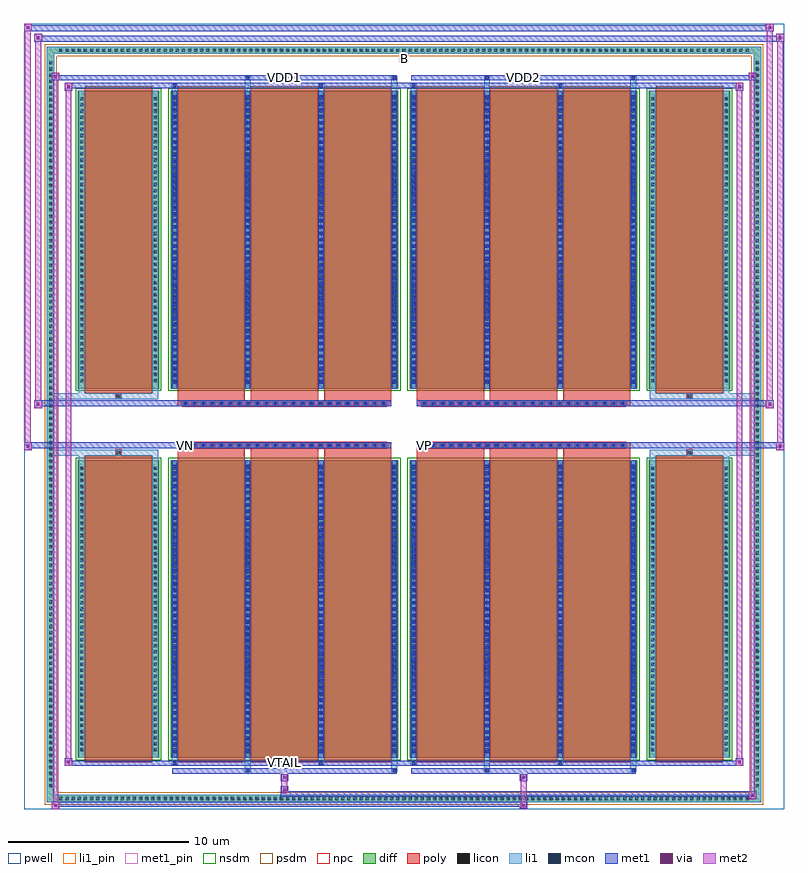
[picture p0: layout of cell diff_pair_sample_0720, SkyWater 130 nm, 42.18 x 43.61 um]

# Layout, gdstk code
import gdstk
lib = gdstk.Library(unit=1e-6, precision=5e-09)
def R(c, l, rs):  # rectangles x0, y0, x1, y1
    for r in rs: c.add(gdstk.rectangle(r[:2], r[2:], *l))
def A(c, l, x, y, w, h, nx, ny, dx, dy):  # array of equal rectangles
    R(c, l, [(x+i*dx, y+j*dy, x+i*dx+w, y+j*dy+h) for i in range(nx) for j in range(ny)])
def P(c, l, *ps):  # polygons
    for p in ps: c.add(gdstk.Polygon(p, *l))
pwell = (64, 44)
diff = (65, 20)
poly = (66, 20)
licon = (66, 44)
li1_pin = (67, 16)
li1 = (67, 20)
mcon = (67, 44)
met1_pin = (68, 16)
met1 = (68, 20)
via = (68, 44)
met2 = (69, 20)
nsdm = (93, 44)
psdm = (94, 20)
npc = (95, 20)

diff_pair_sample_0720 = lib.new_cell('diff_pair_sample_0720')
R(diff_pair_sample_0720, pwell, [(-21.09,-21.37,21.09,22.24), (-18.41,-19.56,-0.01,-0.8), (0.01,-19.56,18.41,-0.8), (-18.41,0.8,-0.01,19.56), (0.01,0.8,18.41,19.56)])
A(diff_pair_sample_0720, diff, -19.245, -20.97, 0.41, 0.41, 113, 2, 0.34, 41.53)
A(diff_pair_sample_0720, diff, -19.82, -20.265, 0.41, 0.41, 1, 119, 0, 0.34)
A(diff_pair_sample_0720, diff, 19.41, -20.265, 0.41, 0.41, 1, 119, 0, 0.34)
R(diff_pair_sample_0720, diff, [(-19.245,-20.97,19.245,-20.56), (-19.82,-20.265,-19.41,20.265), (19.41,-20.265,19.82,20.265), (-18.1,-18.515,-13.59,-1.985), (-12.95,-18.515,-0.32,-1.985), (0.32,-18.515,12.95,-1.985), (13.59,-18.515,18.1,-1.985), (-18.1,1.985,-13.59,18.515), (-12.95,1.985,-0.32,18.515), (0.32,1.985,12.95,18.515), (13.59,1.985,18.1,18.515), (-19.245,20.56,19.245,20.97)])
P(diff_pair_sample_0720, diff, [(19.82,20.97),(-19.82,20.97),(-19.82,-20.56),(-19.41,-20.56),(-19.41,20.56),(19.41,20.56),(19.41,-20.56),(-19.41,-20.56),(-19.82,-20.56),(-19.82,-20.97),(19.82,-20.97)])
A(diff_pair_sample_0720, poly, -12.56, -18.765, 3.73, 17.03, 3, 2, 4.06, 20.5)
A(diff_pair_sample_0720, poly, 0.71, -18.765, 3.73, 17.03, 3, 2, 4.06, 20.5)
A(diff_pair_sample_0720, poly, -12.56, -1.735, 3.73, 0.405, 3, 2, 4.06, 3.065)
A(diff_pair_sample_0720, poly, 0.71, -1.735, 3.73, 0.405, 3, 2, 4.06, 3.065)
A(diff_pair_sample_0720, poly, -12.3, -1.33, 0.33, 0.33, 23, 2, 0.5, 2.33)
A(diff_pair_sample_0720, poly, 0.97, -1.33, 0.33, 0.33, 23, 2, 0.5, 2.33)
R(diff_pair_sample_0720, poly, [(-17.71,-18.765,-13.98,-1.735), (13.98,-18.765,17.71,-1.735), (-16.01,-1.735,-15.68,-1.405), (-16.01,-1.735,-15.68,-1.405), (15.68,-1.735,16.01,-1.405), (15.68,-1.735,16.01,-1.405), (-12.56,-1.33,-0.71,-1), (0.71,-1.33,12.56,-1), (-12.56,1,-0.71,1.33), (0.71,1,12.56,1.33), (-16.01,1.405,-15.68,1.735), (-16.01,1.405,-15.68,1.735), (15.68,1.405,16.01,1.735), (15.68,1.405,16.01,1.735), (-17.71,1.735,-13.98,18.765), (13.98,1.735,17.71,18.765)])
A(diff_pair_sample_0720, licon, -19.125, -20.85, 0.17, 0.17, 113, 2, 0.34, 41.53)
A(diff_pair_sample_0720, licon, -19.7, -20.145, 0.17, 0.17, 1, 119, 0, 0.34)
A(diff_pair_sample_0720, licon, 19.53, -20.145, 0.17, 0.17, 1, 119, 0, 0.34)
A(diff_pair_sample_0720, licon, -17.96, -18.155, 0.17, 0.17, 1, 47, 0, 0.34)
A(diff_pair_sample_0720, licon, -13.9, -18.155, 0.17, 0.17, 1, 47, 0, 0.34)
A(diff_pair_sample_0720, licon, -12.81, -18.155, 0.17, 0.17, 4, 47, 4.06, 0.34)
A(diff_pair_sample_0720, licon, 0.46, -18.155, 0.17, 0.17, 4, 47, 4.06, 0.34)
A(diff_pair_sample_0720, licon, 13.73, -18.155, 0.17, 0.17, 1, 47, 0, 0.34)
A(diff_pair_sample_0720, licon, 17.79, -18.155, 0.17, 0.17, 1, 47, 0, 0.34)
A(diff_pair_sample_0720, licon, -12.22, -1.25, 0.17, 0.17, 23, 2, 0.5, 2.33)
A(diff_pair_sample_0720, licon, 1.05, -1.25, 0.17, 0.17, 23, 2, 0.5, 2.33)
A(diff_pair_sample_0720, licon, -17.96, 2.345, 0.17, 0.17, 1, 47, 0, 0.34)
A(diff_pair_sample_0720, licon, -13.9, 2.345, 0.17, 0.17, 1, 47, 0, 0.34)
A(diff_pair_sample_0720, licon, -12.81, 2.345, 0.17, 0.17, 4, 47, 4.06, 0.34)
A(diff_pair_sample_0720, licon, 0.46, 2.345, 0.17, 0.17, 4, 47, 4.06, 0.34)
A(diff_pair_sample_0720, licon, 13.73, 2.345, 0.17, 0.17, 1, 47, 0, 0.34)
A(diff_pair_sample_0720, licon, 17.79, 2.345, 0.17, 0.17, 1, 47, 0, 0.34)
R(diff_pair_sample_0720, licon, [(-15.93,-1.655,-15.76,-1.485), (15.76,-1.655,15.93,-1.485), (-15.93,1.485,-15.76,1.655), (15.76,1.485,15.93,1.655)])
R(diff_pair_sample_0720, li1_pin, [(-0.25,20.06,0.25,20.56)])
A(diff_pair_sample_0720, li1, -19.205, -20.93, 0.33, 0.33, 113, 2, 0.34, 41.53)
A(diff_pair_sample_0720, li1, -19.78, -20.225, 0.33, 0.33, 1, 119, 0, 0.34)
A(diff_pair_sample_0720, li1, 19.45, -20.225, 0.33, 0.33, 1, 119, 0, 0.34)
A(diff_pair_sample_0720, li1, -12.89, -18.515, 0.33, 16.53, 4, 2, 4.06, 20.5)
A(diff_pair_sample_0720, li1, 0.38, -18.515, 0.33, 16.53, 4, 2, 4.06, 20.5)
A(diff_pair_sample_0720, li1, -12.81, -18.255, 0.17, 0.17, 4, 45, 4.06, 0.36)
A(diff_pair_sample_0720, li1, -12.81, -18.255, 0.17, 16.01, 4, 2, 4.06, 20.5)
A(diff_pair_sample_0720, li1, 0.46, -18.255, 0.17, 0.17, 4, 45, 4.06, 0.36)
A(diff_pair_sample_0720, li1, 0.46, -18.255, 0.17, 16.01, 4, 2, 4.06, 20.5)
A(diff_pair_sample_0720, li1, -18.04, -18.235, 0.33, 0.33, 1, 47, 0, 0.34)
A(diff_pair_sample_0720, li1, -13.98, -18.235, 0.33, 0.33, 1, 47, 0, 0.34)
A(diff_pair_sample_0720, li1, -12.89, -18.235, 0.33, 0.33, 4, 47, 4.06, 0.34)
A(diff_pair_sample_0720, li1, 0.38, -18.235, 0.33, 0.33, 4, 47, 4.06, 0.34)
A(diff_pair_sample_0720, li1, 13.65, -18.235, 0.33, 0.33, 1, 47, 0, 0.34)
A(diff_pair_sample_0720, li1, 17.71, -18.235, 0.33, 0.33, 1, 47, 0, 0.34)
A(diff_pair_sample_0720, li1, -12.3, -1.33, 0.33, 0.33, 23, 2, 0.5, 2.33)
A(diff_pair_sample_0720, li1, 0.97, -1.33, 0.33, 0.33, 23, 2, 0.5, 2.33)
A(diff_pair_sample_0720, li1, -12.81, 2.245, 0.17, 0.17, 4, 45, 4.06, 0.36)
A(diff_pair_sample_0720, li1, 0.46, 2.245, 0.17, 0.17, 4, 45, 4.06, 0.36)
A(diff_pair_sample_0720, li1, -18.04, 2.265, 0.33, 0.33, 1, 47, 0, 0.34)
A(diff_pair_sample_0720, li1, -13.98, 2.265, 0.33, 0.33, 1, 47, 0, 0.34)
A(diff_pair_sample_0720, li1, -12.89, 2.265, 0.33, 0.33, 4, 47, 4.06, 0.34)
A(diff_pair_sample_0720, li1, 0.38, 2.265, 0.33, 0.33, 4, 47, 4.06, 0.34)
A(diff_pair_sample_0720, li1, 13.65, 2.265, 0.33, 0.33, 1, 47, 0, 0.34)
A(diff_pair_sample_0720, li1, 17.71, 2.265, 0.33, 0.33, 1, 47, 0, 0.34)
R(diff_pair_sample_0720, li1, [(-19.82,-20.97,-19.41,-20.56), (-19.82,-20.97,-19.41,-20.56), (-19.41,-20.97,19.41,-20.56), (19.41,-20.97,19.82,-20.56), (19.41,-20.97,19.82,-20.56), (-19.82,-20.56,-19.41,20.56), (19.41,-20.56,19.82,20.56), (-8.83,-19.32,-8.5,-18.515), (-8.75,-19.32,-8.58,-19.15), (-0.71,-19.32,-0.38,-18.515), (-0.63,-19.32,-0.46,-19.15), (4.44,-19.32,4.77,-18.515), (4.52,-19.32,4.69,-19.15), (12.56,-19.32,12.89,-18.515), (12.64,-19.32,12.81,-19.15), (-12.89,-18.89,-12.56,-18.515), (-12.81,-18.89,-12.64,-18.72), (-4.77,-18.89,-4.44,-18.515), (-4.69,-18.89,-4.52,-18.72), (0.38,-18.89,0.71,-18.515), (0.46,-18.89,0.63,-18.72), (8.5,-18.89,8.83,-18.515), (8.58,-18.89,8.75,-18.72), (-18.04,-18.515,-17.71,-1.985), (-13.98,-18.515,-13.65,-1.985), (13.65,-18.515,13.98,-1.985), (17.71,-18.515,18.04,-1.985), (-18.04,-1.985,-17.71,-1.405), (-13.98,-1.985,-13.65,-1.405), (13.65,-1.985,13.98,-1.405), (17.71,-1.985,18.04,-1.405), (-19.82,-1.735,-16.01,-1.405), (-18.04,-1.735,-16.01,-1.405), (-16.01,-1.735,-15.68,-1.405), (-15.68,-1.735,-13.65,-1.405), (13.65,-1.735,15.68,-1.405), (15.68,-1.735,16.01,-1.405), (15.68,-1.735,19.82,-1.405), (16.01,-1.735,18.04,-1.405), (-19.82,1.405,-16.01,1.735), (-18.04,1.405,-16.01,1.735), (-18.04,1.405,-17.71,1.985), (-16.01,1.405,-15.68,1.735), (-15.68,1.405,-13.65,1.735), (-13.98,1.405,-13.65,1.985), (13.65,1.405,15.68,1.735), (13.65,1.405,13.98,1.985), (15.68,1.405,16.01,1.735), (15.68,1.405,19.82,1.735), (16.01,1.405,18.04,1.735), (17.71,1.405,18.04,1.985), (-18.04,1.985,-17.71,18.515), (-13.98,1.985,-13.65,18.515), (13.65,1.985,13.98,18.515), (17.71,1.985,18.04,18.515), (-12.89,18.515,-12.56,18.89), (-8.83,18.515,-8.5,19.32), (-4.77,18.515,-4.44,18.89), (-0.71,18.515,-0.38,19.32), (0.38,18.515,0.71,18.89), (4.44,18.515,4.77,19.32), (8.5,18.515,8.83,18.89), (12.56,18.515,12.89,19.32), (-12.81,18.72,-12.64,18.89), (-4.69,18.72,-4.52,18.89), (0.46,18.72,0.63,18.89), (8.58,18.72,8.75,18.89), (-8.75,19.15,-8.58,19.32), (-0.63,19.15,-0.46,19.32), (4.52,19.15,4.69,19.32), (12.64,19.15,12.81,19.32), (-19.82,20.56,-19.41,20.97), (-19.82,20.56,-19.41,20.97), (-19.41,20.56,19.41,20.97), (19.41,20.56,19.82,20.97), (19.41,20.56,19.82,20.97)])
A(diff_pair_sample_0720, mcon, -12.81, -18.255, 0.17, 0.17, 4, 45, 4.06, 0.36)
A(diff_pair_sample_0720, mcon, 0.46, -18.255, 0.17, 0.17, 4, 45, 4.06, 0.36)
A(diff_pair_sample_0720, mcon, -12.22, -1.25, 0.17, 0.17, 23, 2, 0.5, 2.33)
A(diff_pair_sample_0720, mcon, 1.05, -1.25, 0.17, 0.17, 23, 2, 0.5, 2.33)
A(diff_pair_sample_0720, mcon, -12.81, 2.245, 0.17, 0.17, 4, 45, 4.06, 0.36)
A(diff_pair_sample_0720, mcon, 0.46, 2.245, 0.17, 0.17, 4, 45, 4.06, 0.36)
R(diff_pair_sample_0720, mcon, [(-8.75,-19.32,-8.58,-19.15), (-0.63,-19.32,-0.46,-19.15), (4.52,-19.32,4.69,-19.15), (12.64,-19.32,12.81,-19.15), (-12.81,-18.89,-12.64,-18.72), (-4.69,-18.89,-4.52,-18.72), (0.46,-18.89,0.63,-18.72), (8.58,-18.89,8.75,-18.72), (-12.81,18.72,-12.64,18.89), (-4.69,18.72,-4.52,18.89), (0.46,18.72,0.63,18.89), (8.58,18.72,8.75,18.89), (-8.75,19.15,-8.58,19.32), (-0.63,19.15,-0.46,19.32), (4.52,19.15,4.69,19.32), (12.64,19.15,12.81,19.32)])
R(diff_pair_sample_0720, met1_pin, [(-6.77,-18.93,-6.5,-18.66), (-12.27,-1.29,-12,-1.02), (1,-1.29,1.27,-1.02), (-6.77,19.11,-6.5,19.38), (6.5,19.11,6.77,19.38)])
A(diff_pair_sample_0720, met1, -12.87, -18.515, 0.29, 16.53, 4, 2, 4.06, 20.5)
A(diff_pair_sample_0720, met1, 0.4, -18.515, 0.29, 16.53, 4, 2, 4.06, 20.5)
A(diff_pair_sample_0720, met1, -12.87, -18.315, 0.29, 0.29, 4, 45, 4.06, 0.36)
A(diff_pair_sample_0720, met1, 0.4, -18.315, 0.29, 0.29, 4, 45, 4.06, 0.36)
A(diff_pair_sample_0720, met1, -12.28, -1.31, 0.29, 0.29, 23, 2, 0.5, 2.33)
A(diff_pair_sample_0720, met1, 0.99, -1.31, 0.29, 0.29, 23, 2, 0.5, 2.33)
A(diff_pair_sample_0720, met1, -12.87, 2.185, 0.29, 0.29, 4, 45, 4.06, 0.36)
A(diff_pair_sample_0720, met1, 0.4, 2.185, 0.29, 0.29, 4, 45, 4.06, 0.36)
R(diff_pair_sample_0720, met1, [(-19.55,-21.37,-19.12,-20.94), (6.42,-21.37,6.85,-20.94), (-19.55,-21.23,6.85,-20.94), (19.12,-20.8,19.55,-20.37), (-6.85,-20.66,19.55,-20.37), (-6.85,-20.52,-6.42,-20.09), (-6.85,-19.81,-6.42,-19.38), (6.42,-19.81,6.85,-19.38), (-12.87,-19.38,-0.4,-19.09), (-8.81,-19.38,-8.52,-19.09), (-0.69,-19.38,-0.4,-19.09), (0.4,-19.38,12.87,-19.09), (4.46,-19.38,4.75,-19.09), (12.58,-19.38,12.87,-19.09), (-18.84,-18.95,-18.41,-18.52), (-18.84,-18.95,-12.87,-18.66), (-12.87,-18.95,-12.58,-18.66), (-12.87,-18.95,-0.4,-18.66), (-4.75,-18.95,-4.46,-18.66), (-0.4,-18.95,0.4,-18.66), (0.4,-18.95,0.69,-18.66), (0.4,-18.95,12.87,-18.66), (8.52,-18.95,8.81,-18.66), (12.87,-18.95,18.84,-18.66), (18.41,-18.95,18.84,-18.52), (-21.09,-1.43,-20.66,-1), (20.66,-1.43,21.09,-1), (-21.09,-1.33,-0.71,-1), (-12.56,-1.33,-0.71,-1), (0.71,-1.33,12.56,-1), (0.71,-1.33,21.09,-1), (-20.52,0.9,-20.09,1.33), (20.09,0.9,20.52,1.33), (-20.52,1,-12.56,1.33), (-12.56,1,-0.71,1.33), (0.71,1,12.56,1.33), (12.56,1,20.52,1.33), (-18.84,18.52,-18.41,18.95), (18.41,18.52,18.84,18.95), (-18.84,18.66,-12.87,18.95), (-12.87,18.66,-12.58,18.95), (-12.87,18.66,-0.4,18.95), (-4.75,18.66,-4.46,18.95), (-0.4,18.66,0.4,18.95), (0.4,18.66,0.69,18.95), (0.4,18.66,12.87,18.95), (8.52,18.66,8.81,18.95), (12.87,18.66,18.84,18.95), (-19.55,19.09,-19.12,19.52), (-19.55,19.09,-12.87,19.38), (-12.87,19.09,-0.4,19.38), (-8.81,19.09,-8.52,19.38), (-0.69,19.09,-0.4,19.38), (0.4,19.09,12.87,19.38), (4.46,19.09,4.75,19.38), (12.58,19.09,12.87,19.38), (12.87,19.09,19.55,19.38), (19.12,19.09,19.55,19.52), (-20.52,21.24,-20.09,21.67), (-20.52,21.24,-18.41,21.57), (-18.41,21.24,18.41,21.57), (18.41,21.24,21.09,21.57), (20.66,21.24,21.09,21.67), (-21.09,21.81,-20.66,22.24), (-21.09,21.81,-18.41,22.14), (-18.41,21.81,18.41,22.14), (18.41,21.81,20.52,22.14), (20.09,21.81,20.52,22.24)])
R(diff_pair_sample_0720, via, [(-19.41,-21.23,-19.26,-21.08), (6.56,-21.23,6.71,-21.08), (19.26,-20.66,19.41,-20.51), (-6.71,-20.38,-6.56,-20.23), (-6.71,-19.67,-6.56,-19.52), (6.56,-19.67,6.71,-19.52), (-18.7,-18.81,-18.55,-18.66), (18.55,-18.81,18.7,-18.66), (-20.95,-1.29,-20.8,-1.14), (20.8,-1.29,20.95,-1.14), (-20.38,1.04,-20.23,1.19), (20.23,1.04,20.38,1.19), (-18.7,18.66,-18.55,18.81), (18.55,18.66,18.7,18.81), (-19.41,19.23,-19.26,19.38), (19.26,19.23,19.41,19.38), (-20.38,21.38,-20.23,21.53), (20.8,21.38,20.95,21.53), (-20.95,21.95,-20.8,22.1), (20.23,21.95,20.38,22.1)])
R(diff_pair_sample_0720, met2, [(-19.55,-21.37,-19.12,-20.94), (-19.48,-21.37,-19.19,19.52), (-19.19,-21.37,-19.12,-20.94), (-19.5,-21.32,-19.17,-20.99), (6.47,-21.32,6.8,-20.99), (6.47,-20.99,6.8,-19.76), (19.12,-20.8,19.55,-20.37), (19.19,-20.8,19.48,19.52), (19.48,-20.8,19.55,-20.37), (19.17,-20.75,19.5,-20.42), (-6.8,-20.47,-6.47,-20.14), (-6.8,-20.14,-6.47,-19.76), (-6.8,-19.76,-6.47,-19.43), (6.47,-19.76,6.8,-19.43), (-18.84,-18.95,-18.41,-18.52), (-18.77,-18.95,-18.48,18.95), (-18.48,-18.95,-18.41,-18.52), (18.41,-18.95,18.84,-18.52), (18.48,-18.95,18.77,18.95), (18.77,-18.95,18.84,-18.52), (-18.79,-18.9,-18.46,-18.57), (18.46,-18.9,18.79,-18.57), (-21.09,-1.43,-20.66,-1), (-21.04,-1.43,-20.71,22.24), (-20.71,-1.43,-20.66,-1), (20.66,-1.43,21.09,-1), (20.71,-1.43,21.04,21.67), (21.04,-1.43,21.09,-1), (-21.04,-1.38,-20.71,-1.05), (20.71,-1.38,21.04,-1.05), (-20.52,0.9,-20.09,1.33), (-20.47,0.9,-20.14,21.67), (-20.14,0.9,-20.09,1.33), (20.09,0.9,20.52,1.33), (20.14,0.9,20.47,22.24), (20.47,0.9,20.52,1.33), (-20.47,0.95,-20.14,1.28), (20.14,0.95,20.47,1.28), (-18.84,18.52,-18.41,18.95), (-18.48,18.52,-18.41,18.95), (18.41,18.52,18.84,18.95), (18.77,18.52,18.84,18.95), (-18.79,18.57,-18.46,18.9), (18.46,18.57,18.79,18.9), (-19.55,19.09,-19.12,19.52), (-19.19,19.09,-19.12,19.52), (19.12,19.09,19.55,19.52), (19.48,19.09,19.55,19.52), (-19.5,19.14,-19.17,19.47), (19.17,19.14,19.5,19.47), (-20.52,21.24,-20.09,21.67), (-20.14,21.24,-20.09,21.67), (20.66,21.24,21.09,21.67), (21.04,21.24,21.09,21.67), (-20.47,21.29,-20.14,21.62), (20.71,21.29,21.04,21.62), (-21.09,21.81,-20.66,22.24), (-20.71,21.81,-20.66,22.24), (20.09,21.81,20.52,22.24), (20.47,21.81,20.52,22.24), (-21.04,21.86,-20.71,22.19), (20.14,21.86,20.47,22.19)])
R(diff_pair_sample_0720, nsdm, [(-18.23,-18.645,-13.46,-1.855), (-13.08,-18.645,-0.19,-1.855), (0.19,-18.645,13.08,-1.855), (13.46,-18.645,18.23,-1.855), (-18.23,1.855,-13.46,18.645), (-13.08,1.855,-0.19,18.645), (0.19,1.855,13.08,18.645), (13.46,1.855,18.23,18.645)])
P(diff_pair_sample_0720, psdm, [(19.95,21.1),(-19.95,21.1),(-19.95,-20.43),(-19.28,-20.43),(-19.28,20.43),(19.28,20.43),(19.28,-20.43),(-19.28,-20.43),(-19.95,-20.43),(-19.95,-21.1),(19.95,-21.1)])
A(diff_pair_sample_0720, npc, -12.32, -1.35, 0.37, 0.37, 23, 2, 0.5, 2.33)
A(diff_pair_sample_0720, npc, 0.95, -1.35, 0.37, 0.37, 23, 2, 0.5, 2.33)
R(diff_pair_sample_0720, npc, [(-16.03,-1.755,-15.66,-1.385), (15.66,-1.755,16.03,-1.385), (-12.32,-1.35,-11.45,-0.98), (-12.32,-1.35,-11.45,-0.98), (-11.82,-1.35,-10.95,-0.98), (-11.82,-1.35,-10.95,-0.98), (-11.32,-1.35,-10.45,-0.98), (-11.32,-1.35,-10.45,-0.98), (-10.82,-1.35,-9.95,-0.98), (-10.82,-1.35,-9.95,-0.98), (-10.32,-1.35,-9.45,-0.98), (-10.32,-1.35,-9.45,-0.98), (-9.82,-1.35,-8.95,-0.98), (-9.82,-1.35,-8.95,-0.98), (-9.32,-1.35,-8.45,-0.98), (-9.32,-1.35,-8.45,-0.98), (-8.82,-1.35,-7.95,-0.98), (-8.82,-1.35,-7.95,-0.98), (-8.32,-1.35,-7.45,-0.98), (-8.32,-1.35,-7.45,-0.98), (-7.82,-1.35,-6.95,-0.98), (-7.82,-1.35,-6.95,-0.98), (-7.32,-1.35,-6.45,-0.98), (-7.32,-1.35,-6.45,-0.98), (-6.82,-1.35,-5.95,-0.98), (-6.82,-1.35,-5.95,-0.98), (-6.32,-1.35,-5.45,-0.98), (-6.32,-1.35,-5.45,-0.98), (-5.82,-1.35,-4.95,-0.98), (-5.82,-1.35,-4.95,-0.98), (-5.32,-1.35,-4.45,-0.98), (-5.32,-1.35,-4.45,-0.98), (-4.82,-1.35,-3.95,-0.98), (-4.82,-1.35,-3.95,-0.98), (-4.32,-1.35,-3.45,-0.98), (-4.32,-1.35,-3.45,-0.98), (-3.82,-1.35,-2.95,-0.98), (-3.82,-1.35,-2.95,-0.98), (-3.32,-1.35,-2.45,-0.98), (-3.32,-1.35,-2.45,-0.98), (-2.82,-1.35,-1.95,-0.98), (-2.82,-1.35,-1.95,-0.98), (-2.32,-1.35,-1.45,-0.98), (-2.32,-1.35,-1.45,-0.98), (-1.82,-1.35,-0.95,-0.98), (-1.82,-1.35,-0.95,-0.98), (0.95,-1.35,1.82,-0.98), (0.95,-1.35,1.82,-0.98), (1.45,-1.35,2.32,-0.98), (1.45,-1.35,2.32,-0.98), (1.95,-1.35,2.82,-0.98), (1.95,-1.35,2.82,-0.98), (2.45,-1.35,3.32,-0.98), (2.45,-1.35,3.32,-0.98), (2.95,-1.35,3.82,-0.98), (2.95,-1.35,3.82,-0.98), (3.45,-1.35,4.32,-0.98), (3.45,-1.35,4.32,-0.98), (3.95,-1.35,4.82,-0.98), (3.95,-1.35,4.82,-0.98), (4.45,-1.35,5.32,-0.98), (4.45,-1.35,5.32,-0.98), (4.95,-1.35,5.82,-0.98), (4.95,-1.35,5.82,-0.98), (5.45,-1.35,6.32,-0.98), (5.45,-1.35,6.32,-0.98), (5.95,-1.35,6.82,-0.98), (5.95,-1.35,6.82,-0.98), (6.45,-1.35,7.32,-0.98), (6.45,-1.35,7.32,-0.98), (6.95,-1.35,7.82,-0.98), (6.95,-1.35,7.82,-0.98), (7.45,-1.35,8.32,-0.98), (7.45,-1.35,8.32,-0.98), (7.95,-1.35,8.82,-0.98), (7.95,-1.35,8.82,-0.98), (8.45,-1.35,9.32,-0.98), (8.45,-1.35,9.32,-0.98), (8.95,-1.35,9.82,-0.98), (8.95,-1.35,9.82,-0.98), (9.45,-1.35,10.32,-0.98), (9.45,-1.35,10.32,-0.98), (9.95,-1.35,10.82,-0.98), (9.95,-1.35,10.82,-0.98), (10.45,-1.35,11.32,-0.98), (10.45,-1.35,11.32,-0.98), (10.95,-1.35,11.82,-0.98), (10.95,-1.35,11.82,-0.98), (11.45,-1.35,12.32,-0.98), (11.45,-1.35,12.32,-0.98), (-12.32,0.98,-11.45,1.35), (-12.32,0.98,-11.45,1.35), (-11.82,0.98,-10.95,1.35), (-11.82,0.98,-10.95,1.35), (-11.32,0.98,-10.45,1.35), (-11.32,0.98,-10.45,1.35), (-10.82,0.98,-9.95,1.35), (-10.82,0.98,-9.95,1.35), (-10.32,0.98,-9.45,1.35), (-10.32,0.98,-9.45,1.35), (-9.82,0.98,-8.95,1.35), (-9.82,0.98,-8.95,1.35), (-9.32,0.98,-8.45,1.35), (-9.32,0.98,-8.45,1.35), (-8.82,0.98,-7.95,1.35), (-8.82,0.98,-7.95,1.35), (-8.32,0.98,-7.45,1.35), (-8.32,0.98,-7.45,1.35), (-7.82,0.98,-6.95,1.35), (-7.82,0.98,-6.95,1.35), (-7.32,0.98,-6.45,1.35), (-7.32,0.98,-6.45,1.35), (-6.82,0.98,-5.95,1.35), (-6.82,0.98,-5.95,1.35), (-6.32,0.98,-5.45,1.35), (-6.32,0.98,-5.45,1.35), (-5.82,0.98,-4.95,1.35), (-5.82,0.98,-4.95,1.35), (-5.32,0.98,-4.45,1.35), (-5.32,0.98,-4.45,1.35), (-4.82,0.98,-3.95,1.35), (-4.82,0.98,-3.95,1.35), (-4.32,0.98,-3.45,1.35), (-4.32,0.98,-3.45,1.35), (-3.82,0.98,-2.95,1.35), (-3.82,0.98,-2.95,1.35), (-3.32,0.98,-2.45,1.35), (-3.32,0.98,-2.45,1.35), (-2.82,0.98,-1.95,1.35), (-2.82,0.98,-1.95,1.35), (-2.32,0.98,-1.45,1.35), (-2.32,0.98,-1.45,1.35), (-1.82,0.98,-0.95,1.35), (-1.82,0.98,-0.95,1.35), (0.95,0.98,1.82,1.35), (0.95,0.98,1.82,1.35), (1.45,0.98,2.32,1.35), (1.45,0.98,2.32,1.35), (1.95,0.98,2.82,1.35), (1.95,0.98,2.82,1.35), (2.45,0.98,3.32,1.35), (2.45,0.98,3.32,1.35), (2.95,0.98,3.82,1.35), (2.95,0.98,3.82,1.35), (3.45,0.98,4.32,1.35), (3.45,0.98,4.32,1.35), (3.95,0.98,4.82,1.35), (3.95,0.98,4.82,1.35), (4.45,0.98,5.32,1.35), (4.45,0.98,5.32,1.35), (4.95,0.98,5.82,1.35), (4.95,0.98,5.82,1.35), (5.45,0.98,6.32,1.35), (5.45,0.98,6.32,1.35), (5.95,0.98,6.82,1.35), (5.95,0.98,6.82,1.35), (6.45,0.98,7.32,1.35), (6.45,0.98,7.32,1.35), (6.95,0.98,7.82,1.35), (6.95,0.98,7.82,1.35), (7.45,0.98,8.32,1.35), (7.45,0.98,8.32,1.35), (7.95,0.98,8.82,1.35), (7.95,0.98,8.82,1.35), (8.45,0.98,9.32,1.35), (8.45,0.98,9.32,1.35), (8.95,0.98,9.82,1.35), (8.95,0.98,9.82,1.35), (9.45,0.98,10.32,1.35), (9.45,0.98,10.32,1.35), (9.95,0.98,10.82,1.35), (9.95,0.98,10.82,1.35), (10.45,0.98,11.32,1.35), (10.45,0.98,11.32,1.35), (10.95,0.98,11.82,1.35), (10.95,0.98,11.82,1.35), (11.45,0.98,12.32,1.35), (11.45,0.98,12.32,1.35), (-16.03,1.385,-15.66,1.755), (15.66,1.385,16.03,1.755)])
diff_pair_sample_0720.add(gdstk.Label('VTAIL', (-6.635,-18.795), layer=68, texttype=5))
diff_pair_sample_0720.add(gdstk.Label('VN', (-12.135,-1.155), layer=68, texttype=5))
diff_pair_sample_0720.add(gdstk.Label('VP', (1.135,-1.155), layer=68, texttype=5))
diff_pair_sample_0720.add(gdstk.Label('B', (0,20.31), layer=67, texttype=5))
diff_pair_sample_0720.add(gdstk.Label('VDD2', (6.635,19.245), layer=68, texttype=5))
diff_pair_sample_0720.add(gdstk.Label('VDD1', (-6.635,19.245), layer=68, texttype=5))

lib.write_gds('diff_pair_sample_0720.gds')
